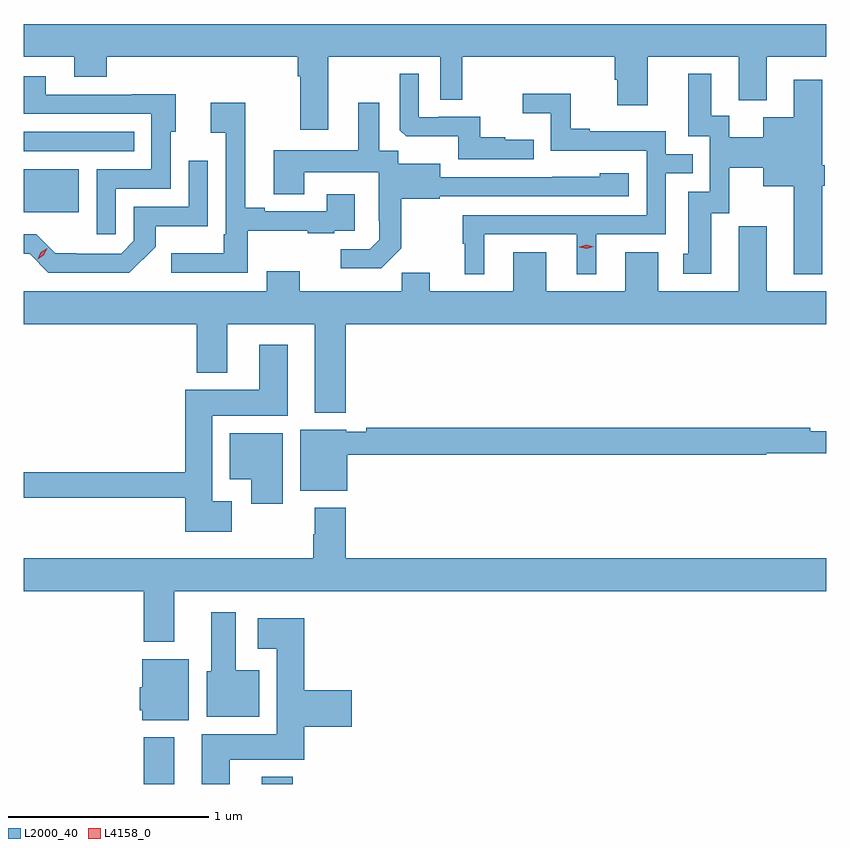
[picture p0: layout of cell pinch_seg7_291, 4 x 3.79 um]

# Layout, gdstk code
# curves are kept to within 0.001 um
import gdstk
lib = gdstk.Library(unit=1e-6, precision=1e-09)
def R(c, l, rs):  # rectangles x0, y0, x1, y1
    for r in rs: c.add(gdstk.rectangle(r[:2], r[2:], *l))
def P(c, l, *ps):  # polygons
    for p in ps: c.add(gdstk.Polygon(p, *l))
L2000_40 = (2000, 40)
L4158_0 = (4158, 0)

pinch_seg7_291 = lib.new_cell('pinch_seg7_291')
R(pinch_seg7_291, L2000_40, [(557.195,1047.608,557.347,1047.841), (557.783,1047.608,557.936,1047.643), (556.596,1050.458,556.87,1050.673), (556.596,1050.762,557.147,1050.858)])
P(pinch_seg7_291, L2000_40, [(558.115,1051.232),(558.672,1051.232),(558.672,1051.018),(558.781,1051.018),(558.781,1051.232),(559.541,1051.232),(559.541,1051.119),(559.553,1051.119),(559.553,1050.99),(559.705,1050.99),(559.705,1051.232),(560.159,1051.232),(560.159,1051.016),(560.299,1051.016),(560.299,1051.232),(560.596,1051.232),(560.596,1051.396),(556.596,1051.396),(556.596,1051.232),(556.847,1051.232),(556.847,1051.133),(557.011,1051.133),(557.011,1051.232),(557.963,1051.232),(557.963,1051.136),(557.975,1051.136),(557.975,1050.87),(558.115,1050.87)],
  [(559.139,1050.82),(558.995,1050.82),(558.995,1050.832),(558.872,1050.832),(558.872,1050.933),(558.664,1050.933),(558.664,1050.93),(558.564,1050.93),(558.564,1051.147),(558.471,1051.147),(558.471,1050.867),(558.503,1050.836),(558.762,1050.836),(558.762,1050.723),(559.139,1050.723)],
  [(560.575,1050.591),(560.588,1050.591),(560.588,1050.691),(560.575,1050.691),(560.575,1051.117),(560.435,1051.117),(560.435,1050.931),(560.282,1050.931),(560.282,1050.832),(560.113,1050.832),(560.113,1050.938),(560.023,1050.938),(560.023,1051.147),(559.907,1051.147),(559.907,1050.837),(560.016,1050.837),(560.016,1050.561),(559.907,1050.561),(559.907,1050.252),(559.883,1050.252),(559.883,1050.15),(560.023,1050.15),(560.023,1050.453),(560.112,1050.453),(560.112,1050.68),(560.282,1050.68),(560.282,1050.587),(560.435,1050.587),(560.435,1050.149),(560.575,1050.149)],
  [(557.055,1050.576),(557.328,1050.576),(557.328,1050.858),(557.353,1050.858),(557.353,1051.046),(557.135,1051.046),(557.135,1051.044),(556.705,1051.044),(556.705,1051.135),(556.596,1051.135),(556.596,1050.948),(557.232,1050.948),(557.232,1050.672),(556.959,1050.672),(556.959,1050.348),(557.055,1050.348)],
  [(558.892,1050.348),(559.352,1050.348),(559.352,1050.149),(559.45,1050.149),(559.45,1050.348),(559.797,1050.348),(559.797,1050.651),(559.931,1050.651),(559.931,1050.747),(559.797,1050.747),(559.797,1050.861),(559.417,1050.861),(559.417,1050.874),(559.323,1050.874),(559.323,1051.049),(559.083,1051.049),(559.083,1050.95),(559.224,1050.95),(559.224,1050.765),(559.701,1050.765),(559.701,1050.444),(558.783,1050.444),(558.783,1050.3),(558.794,1050.3),(558.794,1050.149),(558.892,1050.149)],
  [(557.713,1050.365),(558.011,1050.365),(558.011,1050.354),(558.143,1050.354),(558.143,1050.366),(558.247,1050.366),(558.247,1050.547),(558.107,1050.547),(558.107,1050.462),(557.797,1050.462),(557.797,1050.481),(557.701,1050.481),(557.701,1051.003),(557.529,1051.003),(557.529,1050.854),(557.604,1050.854),(557.604,1050.349),(557.592,1050.349),(557.592,1050.253),(557.331,1050.253),(557.331,1050.156),(557.713,1050.156)],
  [(558.477,1050.279),(558.477,1050.525),(558.669,1050.525),(558.669,1050.537),(559.612,1050.537),(559.612,1050.652),(559.467,1050.652),(559.467,1050.634),(558.673,1050.633),(558.673,1050.7),(558.462,1050.7),(558.462,1050.764),(558.367,1050.764),(558.367,1051.003),(558.263,1051.003),(558.263,1050.766),(557.843,1050.766),(557.843,1050.547),(557.995,1050.547),(557.995,1050.656),(558.366,1050.656),(558.366,1050.415),(558.368,1050.415),(558.368,1050.32),(558.321,1050.273),(558.177,1050.273),(558.177,1050.179),(558.377,1050.179)],
  [(557.253,1050.287),(557.253,1050.389),(557.514,1050.389),(557.514,1050.715),(557.418,1050.715),(557.418,1050.486),(557.145,1050.486),(557.145,1050.315),(557.082,1050.252),(556.858,1050.252),(556.858,1050.254),(556.754,1050.254),(556.659,1050.348),(556.596,1050.348),(556.596,1050.251),(556.625,1050.251),(556.719,1050.156),(557.122,1050.156)],
  [(558.047,1049.459),(558.2,1049.459),(558.2,1049.9),(560.596,1049.9),(560.596,1050.064),(560.299,1050.064),(560.299,1050.388),(560.16,1050.388),(560.16,1050.275),(560.159,1050.275),(560.159,1050.064),(559.759,1050.064),(559.759,1050.259),(559.595,1050.259),(559.595,1050.064),(559.201,1050.064),(559.201,1050.259),(559.037,1050.259),(559.037,1050.064),(558.619,1050.064),(558.619,1050.155),(558.481,1050.155),(558.481,1050.064),(557.971,1050.064),(557.971,1050.163),(557.807,1050.163),(557.807,1050.064),(556.596,1050.064),(556.596,1049.9),(557.459,1049.9),(557.459,1049.657),(557.611,1049.657),(557.611,1049.9),(558.047,1049.9)],
  [(557.632,1049.017),(557.536,1049.017),(557.536,1049.444),(557.911,1049.444),(557.911,1049.797),(557.771,1049.797),(557.771,1049.572),(557.402,1049.572),(557.402,1049.162),(556.596,1049.162),(556.596,1049.034),(557.402,1049.034),(557.402,1048.865),(557.632,1048.865)],
  [(558.208,1049.248),(560.296,1049.248),(560.296,1049.256),(560.596,1049.256),(560.596,1049.365),(560.516,1049.365),(560.516,1049.384),(558.304,1049.384),(558.304,1049.364),(558.204,1049.364),(558.204,1049.374),(557.975,1049.374),(557.975,1049.069),(558.208,1049.069)],
  [(557.887,1049.356),(557.624,1049.356),(557.624,1049.126),(557.729,1049.126),(557.729,1049.004),(557.887,1049.004)],
  [(557.347,1048.568),(560.596,1048.568),(560.596,1048.732),(558.2,1048.732),(558.2,1048.984),(558.047,1048.984),(558.047,1048.853),(558.04,1048.853),(558.04,1048.732),(556.596,1048.732),(556.596,1048.568),(557.195,1048.568),(557.195,1048.316),(557.347,1048.316)],
  [(557.77,1048.174),(557.653,1048.174),(557.653,1048.465),(557.531,1048.465),(557.531,1048.17),(557.507,1048.17),(557.507,1047.944),(557.77,1047.944)],
  [(557.623,1047.728),(557.993,1047.728),(557.993,1047.893),(558.232,1047.893),(558.232,1048.076),(557.993,1048.076),(557.993,1048.435),(557.763,1048.435),(557.763,1048.283),(557.858,1048.283),(557.858,1047.856),(557.483,1047.856),(557.483,1047.608),(557.623,1047.608)],
  [(557.419,1048.231),(557.186,1048.231),(557.186,1048.089),(557.174,1048.089),(557.174,1047.975),(557.186,1047.975),(557.186,1047.926),(557.419,1047.926)])
P(pinch_seg7_291, L4158_0, [(559.401,1050.276),(559.366,1050.284),(559.365,1050.284),(559.366,1050.285),(559.401,1050.296),(559.436,1050.287),(559.436,1050.287),(559.436,1050.287)],
  [(556.665,1050.224),(556.665,1050.224),(556.681,1050.258),(556.712,1050.278),(556.712,1050.278),(556.712,1050.278),(556.696,1050.244),(556.665,1050.224)])

lib.write_gds('pinch_seg7_291.gds')
